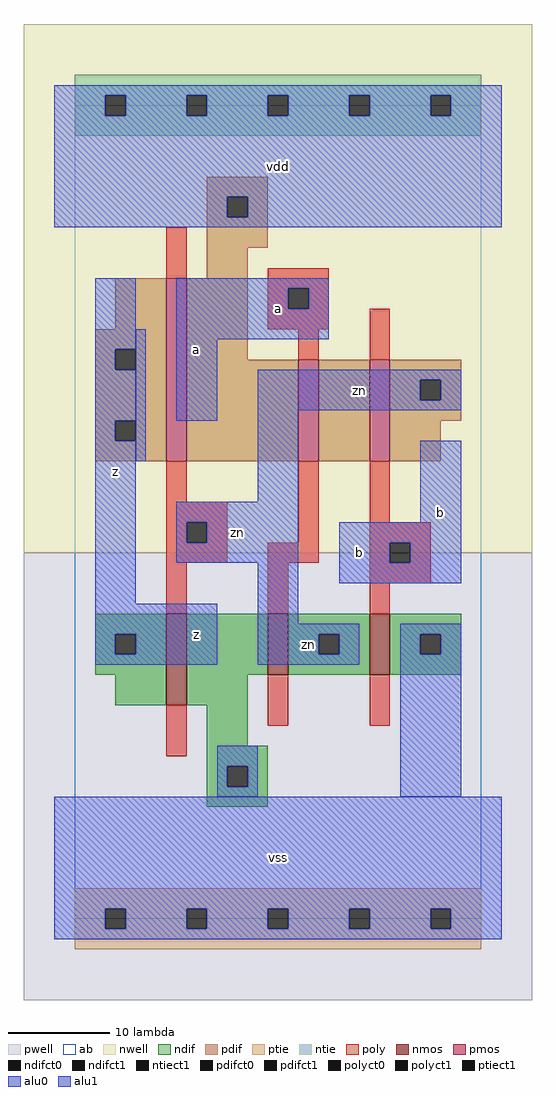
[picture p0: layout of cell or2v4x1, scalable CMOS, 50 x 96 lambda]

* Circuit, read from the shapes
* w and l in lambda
.subckt or2v4x1 a b vdd vss z zn
M1 vss zn z vss nfet w=9 l=2
M2 zn a vss vss nfet w=6 l=2
M3 vss b zn vss nfet w=6 l=2
M4 vdd zn z vdd pfet w=18 l=2
M5 n1 a vdd vdd pfet w=10 l=2
M6 zn b n1 vdd pfet w=10 l=2
.ends

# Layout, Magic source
magic
tech scmos
<< ab >>
rect 0 0 40 80
<< nwell >>
rect -5 36 45 88
<< pwell >>
rect -5 -8 45 36
<< poly >>
rect 9 63 11 68
rect 19 62 25 64
rect 19 60 21 62
rect 23 60 25 62
rect 19 58 25 60
rect 22 55 24 58
rect 29 55 31 60
rect 9 41 11 45
rect 9 39 15 41
rect 9 37 11 39
rect 13 37 15 39
rect 22 37 24 45
rect 9 35 15 37
rect 19 35 24 37
rect 29 39 31 45
rect 29 37 35 39
rect 29 35 31 37
rect 33 35 35 37
rect 9 30 11 35
rect 19 30 21 35
rect 29 33 35 35
rect 29 30 31 33
rect 9 16 11 21
rect 19 19 21 24
rect 29 19 31 24
<< ndif >>
rect 2 28 9 30
rect 2 26 4 28
rect 6 26 9 28
rect 2 24 9 26
rect 4 21 9 24
rect 11 24 19 30
rect 21 28 29 30
rect 21 26 24 28
rect 26 26 29 28
rect 21 24 29 26
rect 31 28 38 30
rect 31 26 34 28
rect 36 26 38 28
rect 31 24 38 26
rect 11 21 17 24
rect 13 17 17 21
rect 13 15 19 17
rect 13 13 15 15
rect 17 13 19 15
rect 13 11 19 13
<< pdif >>
rect 13 71 19 73
rect 13 69 15 71
rect 17 69 19 71
rect 13 66 19 69
rect 13 63 17 66
rect 4 58 9 63
rect 2 56 9 58
rect 2 54 4 56
rect 6 54 9 56
rect 2 49 9 54
rect 2 47 4 49
rect 6 47 9 49
rect 2 45 9 47
rect 11 55 17 63
rect 11 45 22 55
rect 24 45 29 55
rect 31 53 38 55
rect 31 51 34 53
rect 36 51 38 53
rect 31 49 38 51
rect 31 45 36 49
<< alu1 >>
rect -2 81 42 82
rect -2 79 3 81
rect 5 79 11 81
rect 13 79 19 81
rect 21 79 27 81
rect 29 79 35 81
rect 37 79 42 81
rect -2 71 42 79
rect -2 69 15 71
rect 17 69 42 71
rect -2 68 42 69
rect 2 56 6 63
rect 10 62 25 63
rect 10 60 21 62
rect 23 60 25 62
rect 2 54 4 56
rect 2 49 6 54
rect 2 47 4 49
rect 2 31 6 47
rect 10 57 25 60
rect 10 49 14 57
rect 34 39 38 47
rect 2 28 14 31
rect 2 26 4 28
rect 6 26 14 28
rect 2 25 14 26
rect 26 37 38 39
rect 26 35 31 37
rect 33 35 38 37
rect 26 33 38 35
rect -2 1 42 12
rect -2 -1 3 1
rect 5 -1 11 1
rect 13 -1 19 1
rect 21 -1 27 1
rect 29 -1 35 1
rect 37 -1 42 1
rect -2 -2 42 -1
<< ptie >>
rect 0 1 40 3
rect 0 -1 3 1
rect 5 -1 11 1
rect 13 -1 19 1
rect 21 -1 27 1
rect 29 -1 35 1
rect 37 -1 40 1
rect 0 -3 40 -1
<< ntie >>
rect 0 81 40 83
rect 0 79 3 81
rect 5 79 11 81
rect 13 79 19 81
rect 21 79 27 81
rect 29 79 35 81
rect 37 79 40 81
rect 0 77 40 79
<< nmos >>
rect 9 21 11 30
rect 19 24 21 30
rect 29 24 31 30
<< pmos >>
rect 9 45 11 63
rect 22 45 24 55
rect 29 45 31 55
<< polyct0 >>
rect 11 37 13 39
<< polyct1 >>
rect 21 60 23 62
rect 31 35 33 37
<< ndifct0 >>
rect 24 26 26 28
rect 34 26 36 28
rect 15 13 17 15
<< ndifct1 >>
rect 4 26 6 28
<< ntiect1 >>
rect 3 79 5 81
rect 11 79 13 81
rect 19 79 21 81
rect 27 79 29 81
rect 35 79 37 81
<< ptiect1 >>
rect 3 -1 5 1
rect 11 -1 13 1
rect 19 -1 21 1
rect 27 -1 29 1
rect 35 -1 37 1
<< pdifct0 >>
rect 34 51 36 53
<< pdifct1 >>
rect 15 69 17 71
rect 4 54 6 56
rect 4 47 6 49
<< alu0 >>
rect 6 45 7 58
rect 18 53 38 54
rect 18 51 34 53
rect 36 51 38 53
rect 18 50 38 51
rect 18 41 22 50
rect 10 39 22 41
rect 10 37 11 39
rect 13 37 22 39
rect 10 35 22 37
rect 18 29 22 35
rect 18 28 28 29
rect 18 26 24 28
rect 26 26 28 28
rect 18 25 28 26
rect 32 28 38 29
rect 32 26 34 28
rect 36 26 38 28
rect 14 15 18 17
rect 14 13 15 15
rect 17 13 18 15
rect 14 12 18 13
rect 32 12 38 26
<< labels >>
rlabel alu0 23 27 23 27 6 zn
rlabel alu0 16 38 16 38 6 zn
rlabel alu0 28 52 28 52 6 zn
rlabel alu1 4 44 4 44 6 z
rlabel alu1 12 28 12 28 6 z
rlabel alu1 12 56 12 56 6 a
rlabel alu1 20 6 20 6 6 vss
rlabel alu1 28 36 28 36 6 b
rlabel alu1 20 60 20 60 6 a
rlabel alu1 20 74 20 74 6 vdd
rlabel alu1 36 40 36 40 6 b
<< end >>
